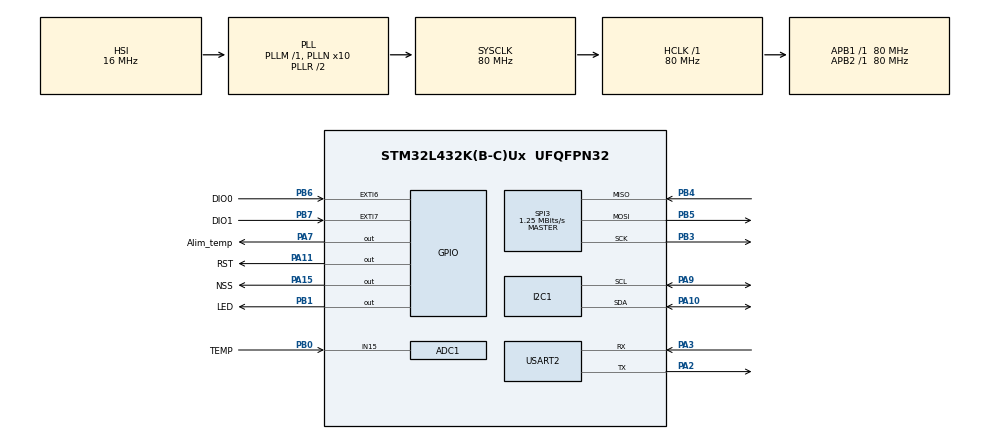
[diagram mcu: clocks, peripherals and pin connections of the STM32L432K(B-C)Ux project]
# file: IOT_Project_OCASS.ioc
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ADC1.Channel-0\#ChannelRegularConversion=ADC_CHANNEL_15
ADC1.NbrOfConversionFlag=1
ADC1.OffsetNumber-0\#ChannelRegularConversion=ADC_OFFSET_NONE
ADC1.Rank-0\#ChannelRegularConversion=1
ADC1.SamplingTime-0\#ChannelRegularConversion=ADC_SAMPLETIME_640CYCLES_5
ADC1.master=1
I2C1.Timing=0x10909CEC
Mcu.Family=STM32L4
Mcu.Name=STM32L432K(B-C)Ux
Mcu.Package=UFQFPN32
NVIC.EXTI9_5_IRQn=true\:0\:0\:false\:false\:true\:true\:true\:true
NVIC.PriorityGroup=NVIC_PRIORITYGROUP_4
NVIC.TIM7_IRQn=true\:0\:0\:false\:false\:true\:true\:true\:true
PA10.Mode=I2C
PA10.Signal=I2C1_SDA
PA11.GPIO_Label=RST
PA11.Signal=GPIO_Output
PA13\ (JTMS-SWDIO).Mode=Serial_Wire
PA13\ (JTMS-SWDIO).Signal=SYS_JTMS-SWDIO
PA14\ (JTCK-SWCLK).Mode=Serial_Wire
PA14\ (JTCK-SWCLK).Signal=SYS_JTCK-SWCLK
PA15\ (JTDI).GPIO_Label=NSS
PA15\ (JTDI).Signal=GPIO_Output
PA2.Mode=Asynchronous
PA2.Signal=USART2_TX
PA3.Mode=Asynchronous
PA3.Signal=USART2_RX
PA7.GPIO_Label=Alim_temp
PA7.Signal=GPIO_Output
PA9.Mode=I2C
PA9.Signal=I2C1_SCL
PB0.GPIO_Label=TEMP
PB0.Signal=ADCx_IN15
PB1.GPIO_Label=LED
PB1.Signal=GPIO_Output
PB3\ (JTDO-TRACESWO).Mode=Full_Duplex_Master
PB3\ (JTDO-TRACESWO).Signal=SPI3_SCK
PB4\ (NJTRST).Mode=Full_Duplex_Master
PB4\ (NJTRST).Signal=SPI3_MISO
PB5.Mode=Full_Duplex_Master
PB5.Signal=SPI3_MOSI
PB6.GPIO_Label=DIO0
PB6.Signal=GPXTI6
PB7.GPIO_Label=DIO1
PB7.Signal=GPXTI7
PC14-OSC32_IN\ (PC14).Mode=LSE-External-Oscillator
PC14-OSC32_IN\ (PC14).Signal=RCC_OSC32_IN
PC15-OSC32_OUT\ (PC15).Mode=LSE-External-Oscillator
PC15-OSC32_OUT\ (PC15).Signal=RCC_OSC32_OUT
ProjectManager.HeapSize=0x200
ProjectManager.StackSize=0x400
ProjectManager.TargetToolchain=STM32CubeIDE
RCC.ADCCLockSelection=RCC_ADCCLKSOURCE_SYSCLK
RCC.ADCFreq_Value=80000000
RCC.AHBFreq_Value=80000000
RCC.APB1Freq_Value=80000000
RCC.APB1TimFreq_Value=80000000
RCC.APB2Freq_Value=80000000
RCC.APB2TimFreq_Value=80000000
RCC.CortexFreq_Value=80000000
RCC.HCLKFreq_Value=80000000
RCC.HSE_VALUE=8000000
RCC.HSI48_VALUE=48000000
RCC.HSI_VALUE=16000000
RCC.MSI_VALUE=4000000
RCC.PLLN=10
RCC.PLLSourceVirtual=RCC_PLLSOURCE_HSI
RCC.SYSCLKFreq_VALUE=80000000
RCC.SYSCLKSource=RCC_SYSCLKSOURCE_PLLCLK
RCC.USBFreq_Value=64000000
RCC.VCOOutputFreq_Value=160000000
SH.ADCx_IN15.0=ADC1_IN15,IN15-Single-Ended
SPI3.BaudRatePrescaler=SPI_BAUDRATEPRESCALER_64
SPI3.CalculateBaudRate=1.25 MBits/s
SPI3.DataSize=SPI_DATASIZE_8BIT
SPI3.Direction=SPI_DIRECTION_2LINES
SPI3.Mode=SPI_MODE_MASTER
SPI3.VirtualType=VM_MASTER
TIM7.Prescaler=2500-1
USART2.VirtualMode-Asynchronous=VM_ASYNC
VP_TIM7_VS_ClockSourceINT.Mode=Enable_Timer
board=custom

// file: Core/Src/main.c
/* USER CODE BEGIN Header */
/**
  ******************************************************************************
  * @file           : main.c
  * @brief          : Main program body
  ******************************************************************************
  * @attention
  *
  * Copyright (c) 2024 STMicroelectronics.
  * All rights reserved.
  *
  * This software is licensed under terms that can be found in the LICENSE file
  * in the root directory of this software component.
  * If no LICENSE file comes with this software, it is provided AS-IS.
  *
  ******************************************************************************
  */
/* USER CODE END Header */
#include "main.h"
#include "adc.h"
#include "i2c.h"
#include "spi.h"
#include "tim.h"
#include "usart.h"
#include "gpio.h"

/* USER CODE BEGIN Includes */
#include "debug.h"
#include "hal.h"
#include "lmic.h"
#include "lorabase.h"
#include "oslmic.h"
#include "cayenne_lpp.h"
#include "bme680/bme68x_defs.h"
#include "bme680/bme68x.h"
#include "bme680/bme68x_necessary_functions.h"
#include "string.h"
/* USER CODE END Includes */

/* USER CODE BEGIN PV */
/* Private variables ---------------------------------------------------------*/

// application router ID (LSBF) < ------- IMPORTANT
static const u1_t APPEUI[8] = {0x00, 0x00, 0x00, 0x00, 0x00, 0x00, 0x00, 0x00};
// unique device ID (LSBF) < ------- IMPORTANT
static const u1_t DEVEUI[8] = {0x62, 0x43, 0x07, 0xD0, 0x7E, 0xD5, 0xB3, 0x70};
// device-specific AES key (derived from device EUI (MSBF))
static const u1_t DEVKEY[16] = {0x00, 0x09, 0x0E, 0x88, 0x37, 0x05, 0x20, 0x27, 0x80, 0x33, 0xA3, 0x7C, 0xD4, 0x26, 0x61, 0xEC};

struct bme68x_data data;

double ADC_value = 0.0;
#define ADC_RESOLUTION 4095.0
//APPEUI,DEVEUI must be copied from thethingsnetwork application datas in LSB format
//-----------------------------------------------------------------------------------------
/* USER CODE END PV */

void SystemClock_Config(void);

/* USER CODE BEGIN 0 */
// provide application router ID (8 bytes, LSBF)
void os_getArtEui (u1_t* buf) {
	memcpy(buf, APPEUI, 8);
}
// provide device ID (8 bytes, LSBF)
void os_getDevEui (u1_t* buf) {
	memcpy(buf, DEVEUI, 8);
}
// provide device key (16 bytes)
void os_getDevKey (u1_t* buf) {
	memcpy(buf, DEVKEY, 16);
}
void initsensor(){

}

void initfunc (osjob_t* j) {
	// intialize sensor hardware
	initsensor();
	// reset MAC state
	LMIC_reset();
	// start joining
	LMIC_startJoining();
	// init done - onEvent() callback will be invoked...
}

uint32_t get_ADC_value(ADC_HandleTypeDef hadc1 , uint32_t channel)  //valeur numérique donnée par rapport à l'adc.
{
	uint32_t adc_val = 0;

	HAL_ADCEx_Calibration_Start(&hadc1, ADC_SINGLE_ENDED);
	HAL_ADC_Start(&hadc1);
	HAL_ADC_PollForConversion(&hadc1, 100);
	adc_val = HAL_ADC_GetValue(&hadc1);
	return adc_val;
}

double GET_temperature(uint32_t ADC_value, double VDD) //conversion par rapport a la résolution de l'adc et la tension
{
	double temp_value = 0.0;
	double voltage = 0.0;

	voltage = (ADC_value*VDD)/ADC_RESOLUTION; //int en mV
	temp_value = (1034 - voltage)/5.48; //datasheet p12 a la fin
	return temp_value;
}

float readsensor_hum(){
	bme68x_start(&data, &hi2c1);

	if(bme68x_single_measure(data)==0){
		data.iaq_score=bme68x_iaq();
	}
	return data.humidity;
}

float readsensor_temp(){
	bme68x_start(&data, &hi2c1);

	if(bme68x_single_measure(data)==0){
		data.iaq_score=bme68x_iaq();
	}
	return data.temperature;
}

float readsensor_pres(){
	bme68x_start(&data, &hi2c1);

	if(bme68x_single_measure(data)==0){
		data.iaq_score=bme68x_iaq();
	}
	return data.pressure/100;
}

float readsensor_iaq_score() {

		struct bme68x_data data;
		bme68x_start(&data, &hi2c1);

		if (bme68x_single_measure(&data) == 0) {
			data.iaq_score = bme68x_iaq();
			return data.iaq_score;
		}
	}

/*float readsensor_gas_resistance() {
    bme68x_start(&data, &hi2c1);

    if (bme68x_single_measure(data) == 0) {
        data.iaq_score = bme68x_iaq();
    }
    return data.gas_resistance;
}*/

static osjob_t reportjob;
// report sensor value every minute
static void reportfunc (osjob_t* j) {
	double temperature_sensor_val = 25.0;
	double pression_value = 0.0;
	double humidity_value = 0.0;
	double iaq_value = 0.0;
	double TempBME_value = 0.0;

    //struct bme68x_data data;
	cayenne_lpp_t lpp = {0};

	HAL_GPIO_WritePin(Alim_temp_GPIO_Port, Alim_temp_Pin, GPIO_PIN_SET);
	HAL_Delay(100);

	temperature_sensor_val = GET_temperature(get_ADC_value(hadc1, ADC_CHANNEL_15), 3300);
	pression_value = readsensor_pres();
	humidity_value = readsensor_hum();
	iaq_value = readsensor_iaq_score();
	TempBME_value = readsensor_temp();

	debug_valfloat("Temperature Sensor Value = ", temperature_sensor_val, 6);
	HAL_GPIO_WritePin(Alim_temp_GPIO_Port, Alim_temp_Pin, GPIO_PIN_RESET);
	HAL_Delay(100);
	cayenne_lpp_reset(&lpp);
	cayenne_lpp_add_temperature(&lpp, 0, temperature_sensor_val);
	cayenne_lpp_add_barometric_pressure(&lpp, 1, pression_value);
	cayenne_lpp_add_temperature(&lpp, 2, TempBME_value);
	cayenne_lpp_add_relative_humidity(&lpp, 3, humidity_value);
	cayenne_lpp_add_analog_output(&lpp, 4, iaq_value);
	LMIC_setTxData2(1, &lpp, 19, 0);
	os_setTimedCallback(j, os_getTime()+sec2osticks(10), reportfunc);
}

// counter
static int cnt = 0;
static osjob_t hellojob;
static void hellofunc (osjob_t* j) {
	// say hello
	debug_str("Hello World!\r\n");
	// log counter
	debug_val("cnt = ", cnt);
	// toggle LED
	debug_led (++cnt & 1);
	// reschedule job every second
	os_setTimedCallback(j, os_getTime()+sec2osticks(1), hellofunc);
}

static osjob_t blinkjob;
static u1_t ledstate = 0;
static void blinkfunc (osjob_t* j) {
// toggle LED
ledstate = !ledstate;
debug_led (ledstate);
// reschedule blink job
os_setTimedCallback(j, os_getTime()+ms2osticks(1000), blinkfunc);
}

//////////////////////////////////////////////////
// LMIC EVENT CALLBACK
//////////////////////////////////////////////////
void onEvent (ev_t ev) {
	debug_event(ev);
	switch(ev) {
	// network joined, session established
		case EV_JOINING:
			debug_str("try joining\r\n");
			break;
		case EV_JOINED:
			// kick-off periodic sensor job
			debug_str("Joined\r\n");
			reportfunc(&reportjob);
			break;
		case EV_JOIN_FAILED:
			debug_str("join failed\r\n");
			break;
		case EV_SCAN_TIMEOUT:
			debug_str("EV_SCAN_TIMEOUT\r\n");
			break;
		case EV_BEACON_FOUND:
			debug_str("EV_BEACON_FOUND\r\n");
			break;
		case EV_BEACON_MISSED:
			debug_str("EV_BEACON_MISSED\r\n");
			break;
		case EV_BEACON_TRACKED:
			debug_str("EV_BEACON_TRACKED\r\n");
			break;
		case EV_RFU1:
			debug_str("EV_RFU1\r\n");
			break;
		case EV_REJOIN_FAILED:
			debug_str("EV_REJOIN_FAILED\r\n");
			break;
		case EV_TXCOMPLETE:
			debug_str("EV_TXCOMPLETE (includes waiting for RX windows)\r\n");
			if (LMIC.txrxFlags & TXRX_ACK)
				debug_str("Received ack\r\n");
			if (LMIC.dataLen) {
				debug_str("Received ");
				debug_str(LMIC.dataLen);
				debug_str(" bytes of payload\r\n");
			}
			break;
		case EV_LOST_TSYNC:
			debug_str("EV_LOST_TSYNC\r\n");
			break;
		case EV_RESET:
			debug_str("EV_RESET\r\n");
			break;
		case EV_RXCOMPLETE:
			// data received in ping slot
			debug_str("EV_RXCOMPLETE\r\n");
			break;
		case EV_LINK_DEAD:
			debug_str("EV_LINK_DEAD\r\n");
			break;
		case EV_LINK_ALIVE:
			debug_str("EV_LINK_ALIVE\r\n");
			break;
		default:
			debug_str("Unknown event\r\n");
			break;
	}
}

/* USER CODE END 0 */

int main(void)
{

  /* MCU Configuration--------------------------------------------------------*/

  /* Reset of all peripherals, Initializes the Flash interface and the Systick. */
  HAL_Init();

  /* Configure the system clock */
  SystemClock_Config();

  /* Initialize all configured peripherals */
  MX_GPIO_Init();
  MX_ADC1_Init();
  MX_SPI3_Init();
  MX_TIM7_Init();
  MX_I2C1_Init();
  MX_USART2_UART_Init();
  /* USER CODE BEGIN 2 */
  //struct bme68x_data data;
  HAL_TIM_Base_Start_IT(&htim7);   // <----------- change to your setup
  __HAL_SPI_ENABLE(&hspi3);        // <----------- change to your setup

  osjob_t initjob;
  // initialize runtime env
  os_init();
  // initialize debug library
  debug_init();
  // setup initial job
  //os_setCallback(&hellojob, hellofunc);   //slide 56 and 57
  os_setCallback(&initjob, initfunc);//Pour tester le capteur de temp on rajoute
  //os_setCallback(&reportjob, reportfunc);
  // execute scheduled jobs and events
  os_runloop();
  // (not reached)
  return 0;
  /* USER CODE END 2 */

  /* Infinite loop */
  /* USER CODE BEGIN WHILE */
  while (1)//On y rentre jamais
  {
    /* USER CODE END WHILE */

  }
}

void SystemClock_Config(void)
{
  RCC_OscInitTypeDef RCC_OscInitStruct = {0};
  RCC_ClkInitTypeDef RCC_ClkInitStruct = {0};

  /** Configure the main internal regulator output voltage
  */
  if (HAL_PWREx_ControlVoltageScaling(PWR_REGULATOR_VOLTAGE_SCALE1) != HAL_OK)
  {
    Error_Handler();
  }

  /** Initializes the RCC Oscillators according to the specified parameters
  * in the RCC_OscInitTypeDef structure.
  */
  RCC_OscInitStruct.OscillatorType = RCC_OSCILLATORTYPE_HSI;
  RCC_OscInitStruct.HSIState = RCC_HSI_ON;
  RCC_OscInitStruct.HSICalibrationValue = RCC_HSICALIBRATION_DEFAULT;
  RCC_OscInitStruct.PLL.PLLState = RCC_PLL_ON;
  RCC_OscInitStruct.PLL.PLLSource = RCC_PLLSOURCE_HSI;
  RCC_OscInitStruct.PLL.PLLM = 1;
  RCC_OscInitStruct.PLL.PLLN = 10;
  RCC_OscInitStruct.PLL.PLLP = RCC_PLLP_DIV7;
  RCC_OscInitStruct.PLL.PLLQ = RCC_PLLQ_DIV2;
  RCC_OscInitStruct.PLL.PLLR = RCC_PLLR_DIV2;
  if (HAL_RCC_OscConfig(&RCC_OscInitStruct) != HAL_OK)
  {
    Error_Handler();
  }

  /** Initializes the CPU, AHB and APB buses clocks
  */
  RCC_ClkInitStruct.ClockType = RCC_CLOCKTYPE_HCLK|RCC_CLOCKTYPE_SYSCLK
                              |RCC_CLOCKTYPE_PCLK1|RCC_CLOCKTYPE_PCLK2;
  RCC_ClkInitStruct.SYSCLKSource = RCC_SYSCLKSOURCE_PLLCLK;
  RCC_ClkInitStruct.AHBCLKDivider = RCC_SYSCLK_DIV1;
  RCC_ClkInitStruct.APB1CLKDivider = RCC_HCLK_DIV1;
  RCC_ClkInitStruct.APB2CLKDivider = RCC_HCLK_DIV1;

  if (HAL_RCC_ClockConfig(&RCC_ClkInitStruct, FLASH_LATENCY_4) != HAL_OK)
  {
    Error_Handler();
  }
}

void Error_Handler(void)
{
  __disable_irq();
  while (1)
  {
  }
}
